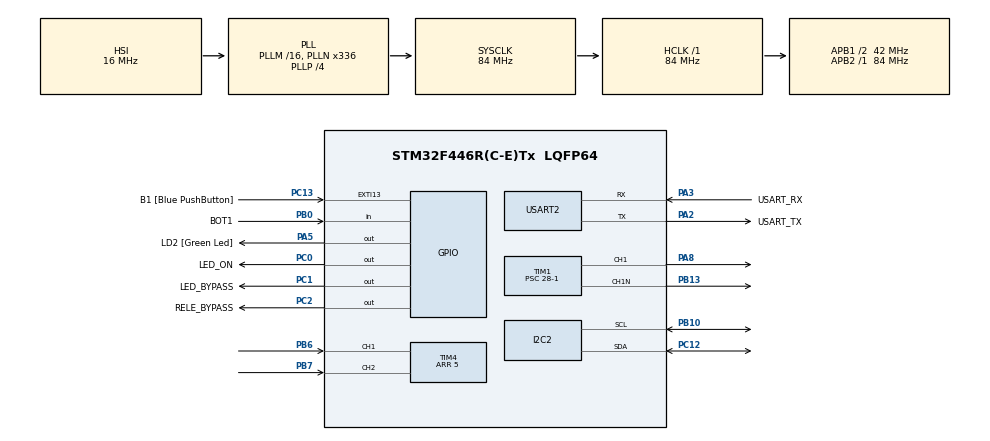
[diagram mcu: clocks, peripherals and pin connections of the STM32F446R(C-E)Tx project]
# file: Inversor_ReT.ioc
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I2C2.I2C_Mode=I2C_Fast
Mcu.Family=STM32F4
Mcu.Name=STM32F446R(C-E)Tx
Mcu.Package=LQFP64
NVIC.PriorityGroup=NVIC_PRIORITYGROUP_0
NVIC.TIM1_TRG_COM_TIM11_IRQn=true\:0\:0\:false\:false\:true\:true\:true\:true
NVIC.TIM1_UP_TIM10_IRQn=true\:0\:0\:false\:false\:true\:true\:true\:true
PA13.GPIO_Label=TMS
PA13.Mode=Serial_Wire
PA13.Signal=SYS_JTMS-SWDIO
PA14.GPIO_Label=TCK
PA14.Mode=Serial_Wire
PA14.Signal=SYS_JTCK-SWCLK
PA2.GPIO_Label=USART_TX
PA2.Mode=Asynchronous
PA2.Signal=USART2_TX
PA3.GPIO_Label=USART_RX
PA3.Mode=Asynchronous
PA3.Signal=USART2_RX
PA5.GPIO_Label=LD2 [Green Led]
PA5.Signal=GPIO_Output
PA8.Signal=S_TIM1_CH1
PB0.GPIO_Label=BOT1
PB0.GPIO_PuPd=GPIO_PULLDOWN
PB0.Signal=GPIO_Input
PB10.Mode=I2C
PB10.Signal=I2C2_SCL
PB13.Mode=PWM Generation1 CH1 CH1N
PB13.Signal=TIM1_CH1N
PB3.GPIO_Label=SWO
PB3.Signal=SYS_JTDO-SWO
PB6.Signal=S_TIM4_CH1
PB7.Signal=S_TIM4_CH2
PC0.GPIO_Label=LED_ON
PC0.Signal=GPIO_Output
PC1.GPIO_Label=LED_BYPASS
PC1.Signal=GPIO_Output
PC12.Mode=I2C
PC12.Signal=I2C2_SDA
PC13.GPIO_Label=B1 [Blue PushButton]
PC13.GPIO_ModeDefaultEXTI=GPIO_MODE_IT_FALLING
PC13.Signal=GPXTI13
PC14-OSC32_IN.Mode=LSE-External-Oscillator
PC14-OSC32_IN.Signal=RCC_OSC32_IN
PC15-OSC32_OUT.Mode=LSE-External-Oscillator
PC15-OSC32_OUT.Signal=RCC_OSC32_OUT
PC2.GPIO_Label=RELE_BYPASS
PC2.Signal=GPIO_Output
PH0-OSC_IN.Mode=HSE-External-Oscillator
PH0-OSC_IN.Signal=RCC_OSC_IN
PH1-OSC_OUT.Mode=HSE-External-Oscillator
PH1-OSC_OUT.Signal=RCC_OSC_OUT
ProjectManager.HeapSize=0x200
ProjectManager.StackSize=0x400
ProjectManager.TargetToolchain=STM32CubeIDE
RCC.48MHZClocksFreq_Value=84000000
RCC.AHBFreq_Value=84000000
RCC.APB1CLKDivider=RCC_HCLK_DIV2
RCC.APB1Freq_Value=42000000
RCC.APB1TimFreq_Value=84000000
RCC.APB2Freq_Value=84000000
RCC.APB2TimFreq_Value=84000000
RCC.CortexFreq_Value=84000000
RCC.FLatency-AdvancedSettings=FLASH_LATENCY_2
RCC.HCLKFreq_Value=84000000
RCC.HSE_VALUE=8000000
RCC.HSI_VALUE=16000000
RCC.PLLN=336
RCC.PLLP=RCC_PLLP_DIV4
RCC.SYSCLKFreq_VALUE=84000000
RCC.SYSCLKSource=RCC_SYSCLKSOURCE_PLLCLK
RCC.USBFreq_Value=168000000
RCC.VCOOutputFreq_Value=336000000
SH.S_TIM1_CH1.0=TIM1_CH1,PWM Generation1 CH1 CH1N
SH.S_TIM4_CH1.0=TIM4_CH1,Encoder_Interface
SH.S_TIM4_CH2.0=TIM4_CH2,Encoder_Interface
TIM1.AutoReloadPreload=TIM_AUTORELOAD_PRELOAD_DISABLE
TIM1.Channel-PWM\ Generation1\ CH1\ CH1N=TIM_CHANNEL_1
TIM1.DeadTime=20
TIM1.OCFastMode_PWM-PWM\ Generation1\ CH1\ CH1N=TIM_OCFAST_DISABLE
TIM1.OCNPolarity_1=TIM_OCNPOLARITY_HIGH
TIM1.Period=200-1
TIM1.Prescaler=28-1
TIM10.Period=200-1
TIM10.Prescaler=28-1
TIM11.Period=700-1
TIM11.Prescaler=8400-1
TIM4.Period=5
USART2.VirtualMode=VM_ASYNC
VP_TIM10_VS_ClockSourceINT.Mode=Enable_Timer
VP_TIM11_VS_ClockSourceINT.Mode=Enable_Timer
VP_TIM1_VS_ClockSourceINT.Mode=Internal
board=NUCLEO-F446RE

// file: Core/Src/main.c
/* USER CODE BEGIN Header */
/**
 ******************************************************************************
 * @file           : main.c
 * @brief          : Main program body
 ******************************************************************************
 * @attention
 *
 * Copyright (c) 2023 STMicroelectronics.
 * All rights reserved.
 *
 * This software is licensed under terms that can be found in the LICENSE file
 * in the root directory of this software component.
 * If no LICENSE file comes with this software, it is provided AS-IS.
 *
 ******************************************************************************
 */
/* USER CODE END Header */
#include "main.h"
#include "i2c.h"
#include "tim.h"
#include "usart.h"
#include "gpio.h"

/* USER CODE BEGIN Includes */

#include "ssd1306.h"
#include "fonts.h"
#include "math.h"
#include "vetor_senoide.h"

/* USER CODE END Includes */

/* USER CODE BEGIN PD */

#define DOISPI 6.2831
#define MOV_ENCODER 25

/* USER CODE END PD */

/* USER CODE BEGIN PV */

///////////////////// Maquina de estados//////////////////////
enum {

	desligado = 0, ligado, bypass, emergencia

};

uint8_t estado_atual = desligado;
/////////////////////////////////////////////////////////////////////

uint32_t sin_wave_mod[TAM_SIN];
uint16_t i;
uint16_t cont = 0;
uint8_t time = 0;

///////////////////ENCODER///////////////
uint16_t contador_encoder = 0;
uint8_t variacao_encoder = 0;
/////////////////////////////////////////

// DETEC BORDA
enum {
	AGORA = 0, ANTES
};

uint8_t comando = 0;
uint8_t bt1[2] = { 0, 0 };

uint8_t bsubida;
uint8_t bdescida;

/* USER CODE END PV */

void SystemClock_Config(void);

/* USER CODE BEGIN 0 */

void Desligado(void){

	HAL_TIM_Base_Stop_IT(&htim10);

	HAL_TIM_PWM_Stop(&htim1, TIM_CHANNEL_1);
	HAL_TIMEx_PWMN_Stop(&htim1, TIM_CHANNEL_1);

	HAL_TIM_Encoder_Stop(&htim4, TIM_CHANNEL_1);
	HAL_TIM_Encoder_Stop(&htim4, TIM_CHANNEL_2);

	HAL_GPIO_WritePin(LED_ON_GPIO_Port, LED_ON_Pin, 0);//Pulsos sendo gerados

}

void Ligado(void){

	HAL_TIM_Base_Start_IT(&htim10);

	HAL_TIM_PWM_Start(&htim1, TIM_CHANNEL_1);
	HAL_TIMEx_PWMN_Start(&htim1, TIM_CHANNEL_1);

	/////////Start Encoder//////////////
	HAL_TIM_Encoder_Start(&htim4, TIM_CHANNEL_1);
	HAL_TIM_Encoder_Start(&htim4, TIM_CHANNEL_2);

	HAL_GPIO_WritePin(LED_ON_GPIO_Port, LED_ON_Pin, 1);//Pulsos sendo gerados / Led Ligado

}

void Rele_Desligado(void){

	HAL_GPIO_WritePin(LED_BYPASS_GPIO_Port, LED_BYPASS_Pin, 0);//resistor ligado // Rele desligado

	HAL_GPIO_WritePin(RELE_BYPASS_GPIO_Port, RELE_BYPASS_Pin, 0);// led bypass desligado

}

void Rele_Ligado(void){

	HAL_GPIO_WritePin(LED_BYPASS_GPIO_Port, LED_BYPASS_Pin, 1);//resistor desligad // Rele Ligado

	HAL_GPIO_WritePin(RELE_BYPASS_GPIO_Port, RELE_BYPASS_Pin, 1);//resistor led bypass ligado

}

void Header(void)
{
	//////HEADER//////////
	SSD1306_GotoXY(15, 0);
	SSD1306_Puts("Raupp & Trento", &Font_7x10, 1);
	SSD1306_UpdateScreen(); // display
}

void HAL_TIM_PeriodElapsedCallback(TIM_HandleTypeDef *htim) {

	if (htim->Instance == TIM10) {

		contador_encoder = (__HAL_TIM_GET_COUNTER(&htim4)); // ENCODER DE 5 A 50 s

		variacao_encoder = contador_encoder + MOV_ENCODER;

		cont++;

		if (cont == TAM_SIN - 1) {
			cont = 0;
		}

		__HAL_TIM_SET_COMPARE(&htim1, TIM_CHANNEL_1, sin_wave[cont]);

		__HAL_TIM_SET_PRESCALER(&htim10, variacao_encoder);

	}

	if (htim->Instance == TIM11) {

		//////////////////DEBOUNCE E DETECCAO DE BORDA///////////////////

		bt1[AGORA] = HAL_GPIO_ReadPin(BOT1_GPIO_Port, BOT1_Pin);

		if (bt1[AGORA] == 1 && bt1[ANTES] == 0) {

			bsubida = 1;
			bdescida = 0;
			comando++;

		}

		if (bt1[AGORA] == 0 && bt1[ANTES] == 1) {

			bdescida = 1;
			bsubida = 0;

		}

		bt1[ANTES] = bt1[AGORA];  /////// DETC BOT 1

		if(comando >= 2){
			comando = 0;
		}

		//-------------------BASE DE TEMPO--------------//
		time++;

		if (time > 70)
			time = 0;

	}

}

/* USER CODE END 0 */

int main(void)
{

  /* MCU Configuration--------------------------------------------------------*/

  /* Reset of all peripherals, Initializes the Flash interface and the Systick. */
  HAL_Init();

  /* Configure the system clock */
  SystemClock_Config();

  /* Initialize all configured peripherals */
  MX_GPIO_Init();
  MX_USART2_UART_Init();
  MX_TIM1_Init();
  MX_TIM10_Init();
  MX_TIM4_Init();
  MX_TIM11_Init();
  MX_I2C2_Init();
  /* USER CODE BEGIN 2 */

	HAL_TIM_Base_Start_IT(&htim11);// Botao
	SSD1306_Init(); // inicia o display

  /* USER CODE END 2 */

  /* Infinite loop */
  /* USER CODE BEGIN WHILE */
	while (1) {

		//============================= Maquina de estados =============================//

		switch (estado_atual) {

		case desligado:

			Desligado();

			Rele_Desligado();

			//-------Exibindo Desligado------//
			Header();
			SSD1306_GotoXY(20, 30);
			SSD1306_Puts("DESLIGADO", &Font_11x18, 1);
			SSD1306_UpdateScreen(); // display

			//---------------Condiçao de troca de estado--------------/////
			if(comando){

			SSD1306_Clear();
			comando = 0;
			time = 0;
			estado_atual = ligado;

			}

			break;

		case ligado:

			Ligado();

			Rele_Desligado();

			Header();
			SSD1306_GotoXY(28, 30);
			SSD1306_Puts("LIGADO", &Font_11x18, 1);
			SSD1306_UpdateScreen(); // display

			//---------------Condiçao de troca de estado--------------/////

			if(time >= 21){ //Se passou 1,5 segundos

			estado_atual = bypass;

			}

			if(comando){

			SSD1306_Clear();
			comando = 0;
			time = 0;
			estado_atual = desligado;

			}

			break;

		case bypass:

			Rele_Ligado();

			Header();
			SSD1306_GotoXY(28, 30);
			SSD1306_Puts("BYPASS", &Font_11x18, 1);
			SSD1306_UpdateScreen(); // display

			if(comando){

			SSD1306_Clear();
			comando = 0;
			time = 0;
			estado_atual = desligado;

			}

			break;

		default:

			Desligado();

			//---------------Condiçao de troca de estado--------------/////

			if(comando){

			SSD1306_Clear();

			comando = 0;
			time = 0;
			estado_atual = ligado;

			}

			break;

		}

    /* USER CODE END WHILE */

	}
}

void SystemClock_Config(void)
{
  RCC_OscInitTypeDef RCC_OscInitStruct = {0};
  RCC_ClkInitTypeDef RCC_ClkInitStruct = {0};

  /** Configure the main internal regulator output voltage
  */
  __HAL_RCC_PWR_CLK_ENABLE();
  __HAL_PWR_VOLTAGESCALING_CONFIG(PWR_REGULATOR_VOLTAGE_SCALE3);

  /** Initializes the RCC Oscillators according to the specified parameters
  * in the RCC_OscInitTypeDef structure.
  */
  RCC_OscInitStruct.OscillatorType = RCC_OSCILLATORTYPE_HSI;
  RCC_OscInitStruct.HSIState = RCC_HSI_ON;
  RCC_OscInitStruct.HSICalibrationValue = RCC_HSICALIBRATION_DEFAULT;
  RCC_OscInitStruct.PLL.PLLState = RCC_PLL_ON;
  RCC_OscInitStruct.PLL.PLLSource = RCC_PLLSOURCE_HSI;
  RCC_OscInitStruct.PLL.PLLM = 16;
  RCC_OscInitStruct.PLL.PLLN = 336;
  RCC_OscInitStruct.PLL.PLLP = RCC_PLLP_DIV4;
  RCC_OscInitStruct.PLL.PLLQ = 2;
  RCC_OscInitStruct.PLL.PLLR = 2;
  if (HAL_RCC_OscConfig(&RCC_OscInitStruct) != HAL_OK)
  {
    Error_Handler();
  }

  /** Initializes the CPU, AHB and APB buses clocks
  */
  RCC_ClkInitStruct.ClockType = RCC_CLOCKTYPE_HCLK|RCC_CLOCKTYPE_SYSCLK
                              |RCC_CLOCKTYPE_PCLK1|RCC_CLOCKTYPE_PCLK2;
  RCC_ClkInitStruct.SYSCLKSource = RCC_SYSCLKSOURCE_PLLCLK;
  RCC_ClkInitStruct.AHBCLKDivider = RCC_SYSCLK_DIV1;
  RCC_ClkInitStruct.APB1CLKDivider = RCC_HCLK_DIV2;
  RCC_ClkInitStruct.APB2CLKDivider = RCC_HCLK_DIV1;

  if (HAL_RCC_ClockConfig(&RCC_ClkInitStruct, FLASH_LATENCY_2) != HAL_OK)
  {
    Error_Handler();
  }
}

void Error_Handler(void)
{
	__disable_irq();
	while (1) {
	}
}
